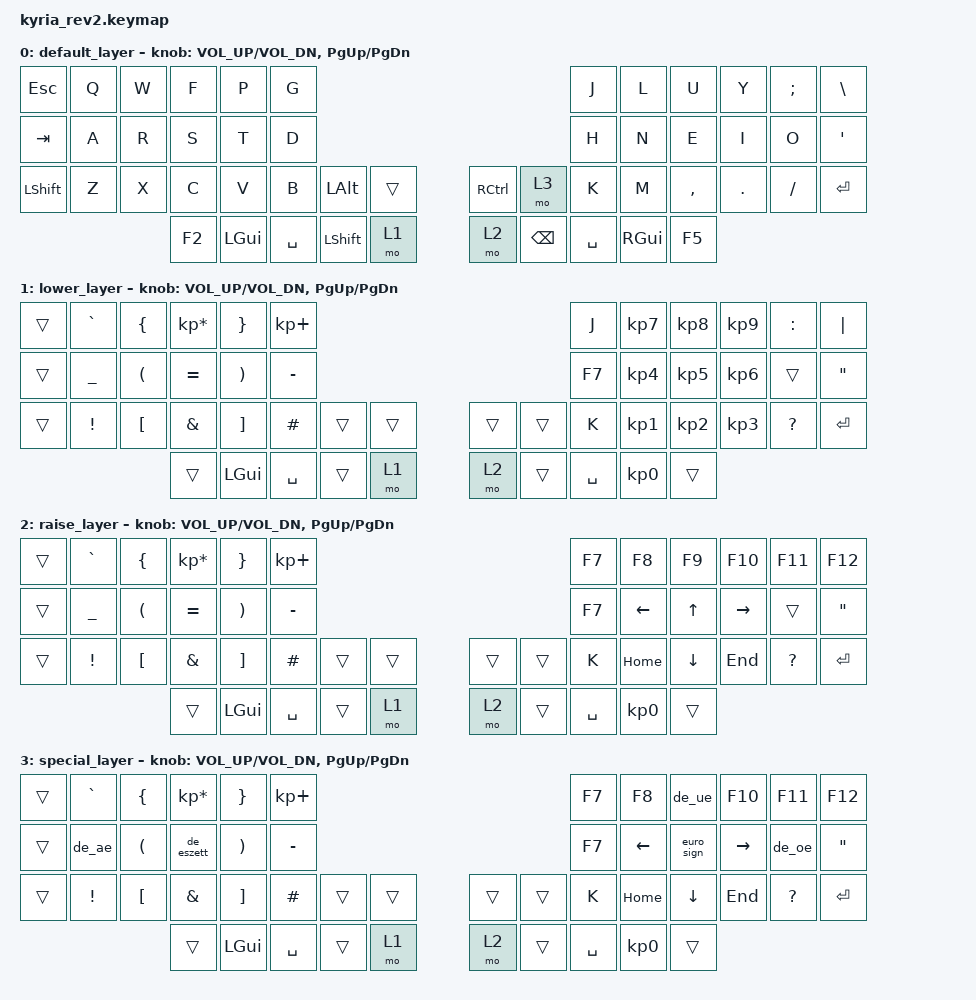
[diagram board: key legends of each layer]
/*
 * Copyright (c) 2020 The ZMK Contributors
 *
 * SPDX-License-Identifier: MIT
 */

#include <behaviors.dtsi>
#include <dt-bindings/zmk/keys.h>

#include "../zmk-nodefree-config/helper.h"
#include "../zmk-nodefree-config/international_chars/german.dtsi"

// euro sign
ZMK_UNICODE_SINGLE(euro_sign, N2, N0, A, C)  // €

/ {
	keymap {
		compatible = "zmk,keymap";

		default_layer {
// ---------------------------------------------------------------------------------------------------------------------------------------------------
// |  ESC  |  Q  |  W  |  F   |  P   |  G   |                                                            |  J   |  L    |  U    |  Y   |   ;   |   \  |
// |  TAB  |  A  |  S  |  S   |  T   |  D   |                                                            |  H   |  N    |  E    |  I   |   O   |   '  |
// | SHIFT |  Z  |  X  |  C   |  V   |  B   |  ALT  | ????? |                            | CTRL  |SPECIAL|  K   |  M    |  ,    |  .   |   /   |  RET |
//                     |  F2  | GUI  | RET  | SPACE | LOWER |                            | RAISE |  BSPC | SPACE| GUI   |  F5   |
			bindings = <
&kp ESC   &kp Q &kp W &kp F    &kp P    &kp G                                                            &kp J     &kp L    &kp U     &kp Y   &kp SEMI  &kp BSLH
&kp TAB   &kp A &kp R &kp S    &kp T    &kp D                                                            &kp H     &kp N    &kp E     &kp I   &kp O     &kp SQT
&kp LSHFT &kp Z &kp X &kp C    &kp V    &kp B     &kp LALT  &trans                  &kp RCTRL  &mo 3     &kp K     &kp M    &kp COMMA &kp DOT &kp FSLH  &kp RET
                      &kp F2   &kp LGUI &kp SPACE &kp LSHFT &mo 1                   &mo 2      &kp BSPC  &kp SPACE &kp RGUI &kp F5
		      >;

			sensor-bindings = <&inc_dec_kp C_VOL_UP C_VOL_DN &inc_dec_kp PG_UP PG_DN>;
		};
		lower_layer {
// ---------------------------------------------------------------------------------------------------------------------------------------------------
// |       |  `  |  {  |  *   |  }   |  +   |                                                            |  ?   |   7   |   8   |   9  |  F11  |  F12 |
// |       |  _  |  (  |  =   |  )   |  -   |                                                            |  ?   |   4   |   5   |   6  |  F11  |  F12 |
// |       |  !  |  [  |  &   |  ]   |  #   |       |       |                            |       |       |  ?   |   1   |   2   |   3  |   /   |  RET |
//                     |  ??? | GUI  | RET  |       |       |                            |       |       | SPACE|   0   |  ???  |
			bindings = <
&trans  &kp GRAVE &kp LBRC &kp KP_ASTERISK &kp RBRC  &kp KP_PLUS                                         &kp J     &kp KP_N7 &kp KP_N8 &kp KP_N9 &kp COLON &kp PIPE
&trans  &kp UNDER &kp LPAR &kp EQUAL       &kp RPAR  &kp MINUS                                           &kp F7    &kp KP_N4 &kp KP_N5 &kp KP_N6 &trans    &kp DQT
&trans  &kp EXCL  &kp LBKT &kp AMPS        &kp RBKT  &kp HASH  &trans    &trans     &trans    &trans     &kp K     &kp KP_N1 &kp KP_N2 &kp KP_N3 &kp QMARK &kp RET
                           &trans          &kp LGUI  &kp SPACE &trans    &mo 1      &mo 2     &trans     &kp SPACE &kp KP_N0 &trans
		      >;

			sensor-bindings = <&inc_dec_kp C_VOL_UP C_VOL_DN &inc_dec_kp PG_UP PG_DN>;
		};
		raise_layer {
// ---------------------------------------------------------------------------------------------------------------------------------------------------
// |   F1  |  F2 |  F3 |  F4  |  F5  |  F6  |                                                            |  F7  |   F8  |   F9   |  F10 |  F11 |  F12 |
// |       |  _  |  (  |  =   |  )   |  -   |                                                            |  ?   |   ⬅   |   ⬆   |   ⮕  |  F11  |  F12 |
// |       |  !  |  [  |  &   |  ]   |  #   |  ALT  | ????? |                            | ????? |  ALT  |  ?   |  HOME |   ⬇   |  END |   /   |  RET |
//                     |  ??? | GUI  | RET  | SPACE | LOWER |                            | RAISE |  BSPC | SPACE|   0   |  ???  |
			bindings = <
&trans  &kp GRAVE &kp LBRC &kp KP_ASTERISK &kp RBRC  &kp KP_PLUS                                         &kp F7    &kp F8    &kp F9    &kp F10   &kp F11   &kp F12
&trans  &kp UNDER &kp LPAR &kp EQUAL       &kp RPAR  &kp MINUS                                           &kp F7    &kp LEFT  &kp UP    &kp RIGHT &trans    &kp DQT
&trans  &kp EXCL  &kp LBKT &kp AMPS        &kp RBKT  &kp HASH  &trans    &trans     &trans    &trans     &kp K     &kp HOME  &kp DOWN  &kp END   &kp QMARK &kp RET
                           &trans          &kp LGUI  &kp SPACE &trans    &mo 1      &mo 2     &trans     &kp SPACE &kp KP_N0 &trans
		      >;

			sensor-bindings = <&inc_dec_kp C_VOL_UP C_VOL_DN &inc_dec_kp PG_UP PG_DN>;
		};
		special_layer {
// ---------------------------------------------------------------------------------------------------------------------------------------------------
// |   F1  |  F2 |  F3 |  F4  |  F5  |  F6  |                                                            |  F7  |   F8  |   ü   |  F10 |  F11  |  F12 |
// |       |  ä  |  (  |  ß   |  )   |  -   |                                                            |  ?   |   ⬅   |   ⬆   |   ⮕  |   ö   |  F12 |
// |       |  !  |  [  |  &   |  ]   |  #   |  ALT  | ????? |                            | ????? |  ALT  |  ?   |  HOME |   ⬇   |  END |   /   |  RET |
//                     |  ??? | GUI  | RET  | SPACE | LOWER |                            | RAISE |  BSPC | SPACE|   0   |  ???  |
			bindings = <
&trans  &kp GRAVE &kp LBRC &kp KP_ASTERISK &kp RBRC  &kp KP_PLUS                                         &kp F7    &kp F8    &de_ue    &kp F10   &kp F11   &kp F12
&trans  &de_ae    &kp LPAR &de_eszett      &kp RPAR  &kp MINUS                                           &kp F7    &kp LEFT  &euro_sign &kp RIGHT &de_oe    &kp DQT
&trans  &kp EXCL  &kp LBKT &kp AMPS        &kp RBKT  &kp HASH  &trans    &trans     &trans    &trans     &kp K     &kp HOME  &kp DOWN  &kp END   &kp QMARK &kp RET
                           &trans          &kp LGUI  &kp SPACE &trans    &mo 1      &mo 2     &trans     &kp SPACE &kp KP_N0 &trans
		      >;

			sensor-bindings = <&inc_dec_kp C_VOL_UP C_VOL_DN &inc_dec_kp PG_UP PG_DN>;
		};
	};
};
